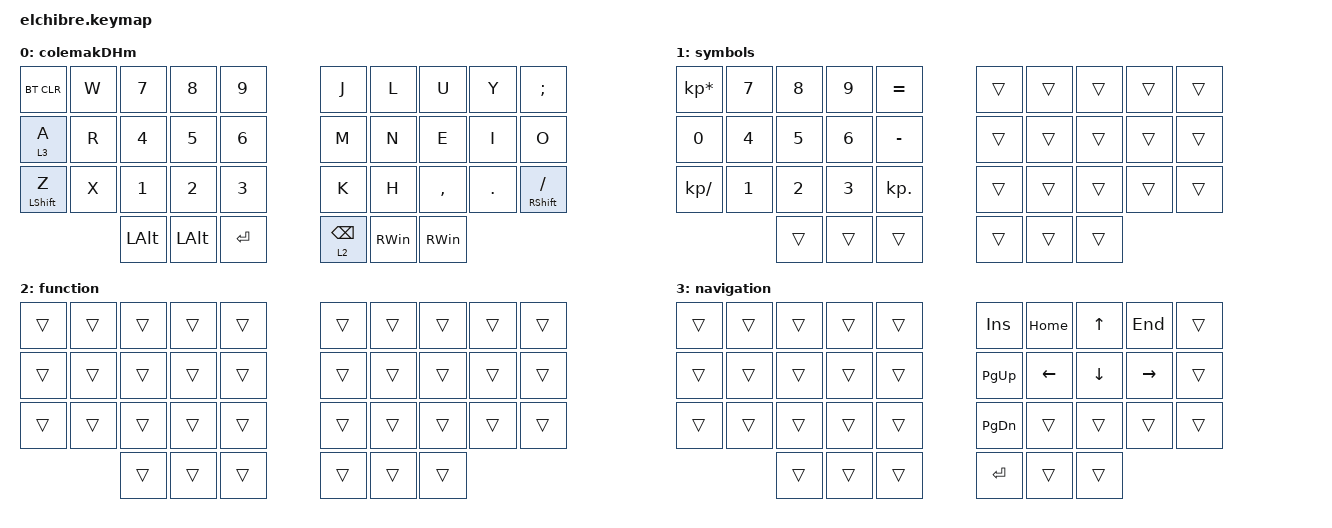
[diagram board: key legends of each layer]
#include <behaviors.dtsi>
#include <dt-bindings/zmk/bt.h>
#include <dt-bindings/zmk/keys.h>
#include <dt-bindings/zmk/outputs.h>

&lt {
};

/ {
    combos {
        compatible = "zmk,combos";
        combo_esc {
            timeout-ms = <27>;
            key-positions = <0 1>;
            bindings = <&kp ESC>;
        };
        combo_tab {
            timeout-ms = <27>;
            key-positions = <10 11>;
            bindings = <&kp TAB>;
        };
        combo_delete {
            timeout-ms = <27>;
            key-positions = <27 28>;
            bindings = <&kp DEL>;
        };
        combo_enter {
            timeout-ms = <27>;
            key-positions = <17 18>;
            bindings = <&kp ENTER>;
        };
    };
};

/ {
    keymap {
        compatible = "zmk,keymap";

        colemakDHm {
            bindings = <
                &bt BT_CLR   &kp W  &kp N7  &kp N8  &kp N9      &kp J  &kp L  &kp U     &kp Y      &kp SEMICOLON
                &lt 3 A      &kp R  &kp N4  &kp N5  &kp N6      &kp M  &kp N  &kp E     &kp I      &kp O
                &mt LSHIFT Z &kp X  &kp N1  &kp N2  &kp N3      &kp K  &kp H  &kp COMMA &kp PERIOD &mt RSHIFT SLASH
                          &kp LALT &kp LALT &kp ENTER        &lt 2 BACKSPACE &kp RWIN  &kp RWIN
            >;
        };

        symbols {
            bindings = <
                &kp KP_MULTIPLY &kp N7 &kp N8 &kp N9 &kp EQUAL       &trans &trans &trans &trans &trans
                &kp N0          &kp N4 &kp N5 &kp N6 &kp MINUS       &trans &trans &trans &trans &trans
                &kp KP_SLASH    &kp N1 &kp N2 &kp N3 &kp KP_DOT      &trans &trans &trans &trans &trans
                                       &trans &trans &trans          &trans &trans &trans
            >;
        };

        function {
            bindings = <
                &trans &trans &trans &trans &trans          &trans &trans &trans &trans &trans
                &trans &trans &trans &trans &trans          &trans &trans &trans &trans &trans
                &trans &trans &trans &trans &trans          &trans &trans &trans &trans &trans
                              &trans &trans &trans          &trans &trans &trans
            >;
        };

        navigation {
            bindings = <
                &trans &trans &trans &trans &trans          &kp INS   &kp HOME &kp UP   &kp END   &trans
                &trans &trans &trans &trans &trans          &kp PG_UP &kp LEFT &kp DOWN &kp RIGHT &trans
                &trans &trans &trans &trans &trans          &kp PG_DN &trans   &trans   &trans    &trans
                              &trans &trans &trans          &kp ENTER &trans   &trans
            >;
        };
    };
};
